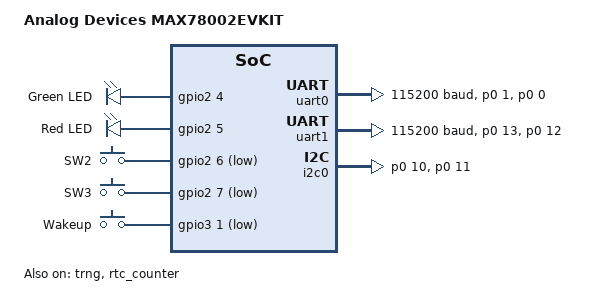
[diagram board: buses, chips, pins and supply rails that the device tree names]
/*
 * Copyright (c) 2026 Analog Devices, Inc.
 *
 * SPDX-License-Identifier: Apache-2.0
 */

#include <adi/max32/max78002-pinctrl.dtsi>
#include <zephyr/dt-bindings/gpio/adi-max32-gpio.h>
#include <zephyr/dt-bindings/input/input-event-codes.h>

/ {
	model = "Analog Devices MAX78002EVKIT";
	compatible = "adi,max78002evkit";

	chosen {
		zephyr,flash = &flash0;
	};

	soc {
		/*
		 * Concatenate SRAM2 through SRAM3 for the M4.
		 * Avoid SRAM0 since it will not work for noinit data.
		 */
		m4_sram: memory@20010000 {
			compatible = "mmio-sram";
			reg = <0x20010000 DT_SIZE_K(48 + 16)>;
		};

		/*
		 * Concatenate SRAM4 through SRAM6 for the RV32
		 */
		rv32_sram: memory@20030000 {
			compatible = "mmio-sram";
			reg = <0x20030000 DT_SIZE_K(176)>;
		};
	};

	leds {
		compatible = "gpio-leds";

		led1: led_1 {
			gpios = <&gpio2 4 GPIO_ACTIVE_HIGH>;
			label = "Green LED";
		};

		led2: led_2 {
			gpios = <&gpio2 5 GPIO_ACTIVE_HIGH>;
			label = "Red LED";
		};
	};

	buttons {
		compatible = "gpio-keys";

		pb1: pb1 {
			gpios = <&gpio2 6 (GPIO_PULL_UP | GPIO_ACTIVE_LOW)>;
			label = "SW2";
			zephyr,code = <INPUT_KEY_0>;
		};

		pb2: pb2 {
			gpios = <&gpio2 7 (GPIO_PULL_UP | GPIO_ACTIVE_LOW)>;
			label = "SW3";
			zephyr,code = <INPUT_KEY_1>;
		};

		pb_wakeup: pb_wakeup {
			gpios = <&gpio3 1
				 (GPIO_PULL_UP | GPIO_ACTIVE_LOW | MAX32_GPIO_VSEL_VDDIOH)>;
			label = "Wakeup";
			zephyr,code = <INPUT_KEY_WAKEUP>;
		};
	};

	/* These aliases are provided for compatibility with samples */
	aliases {
		led0 = &led1;
		led1 = &led2;
		sw0 = &pb1;
		sw1 = &pb2;
		watchdog0 = &wdt0;
	};
};

&clk_ipo {
	status = "okay";
};

&clk_ibro {
	status = "okay";
};

&uart0 {
	pinctrl-0 = <&uart0a_tx_p0_1 &uart0a_rx_p0_0>;
	clock-source = <ADI_MAX32_PRPH_CLK_SRC_IBRO>;
	pinctrl-names = "default";
	current-speed = <115200>;
	data-bits = <8>;
	parity = "none";
};

&uart1 {
	pinctrl-0 = <&uart1_tx_p0_13 &uart1_rx_p0_12>;
	clock-source = <ADI_MAX32_PRPH_CLK_SRC_IBRO>;
	pinctrl-names = "default";
	current-speed = <115200>;
	data-bits = <8>;
	parity = "none";
};

rv32_uart: &uart1 {};

m4_uart: &uart0 {};

&gpio0 {
	status = "okay";
};

&gpio1 {
	status = "okay";
};

&gpio2 {
	status = "okay";
};

&gpio3 {
	status = "okay";
};

&trng {
	status = "okay";
};

&i2c0 {
	status = "okay";
	pinctrl-0 = <&i2c0_scl_p0_10 &i2c0_sda_p0_11>;
	pinctrl-names = "default";
};

&rtc_counter {
	status = "okay";
};

&flash0 {
	partitions {
		compatible = "fixed-partitions";
		#address-cells = <1>;
		#size-cells = <1>;
		ranges;

		m4_partition: partition@0 {
			label = "image-m4";
			reg = <0x0 DT_SIZE_M(1)>;
		};

		m4_storage_partition: partition@100000 {
			label = "storage-m4";
			reg = <0x100000 DT_SIZE_K(256)>;
		};

		rv32_partition: partition@140000 {
			label = "image-rv32";
			reg = <0x140000 DT_SIZE_M(1)>;
		};

		rv32_storage_partition: partition@240000 {
			label = "storage-rv32";
			reg = <0x240000 DT_SIZE_K(256)>;
		};
	};
};
